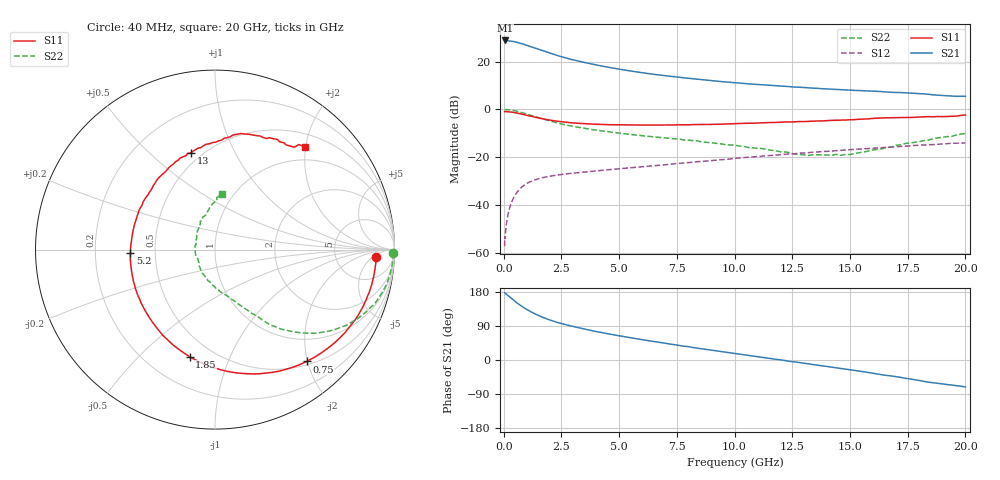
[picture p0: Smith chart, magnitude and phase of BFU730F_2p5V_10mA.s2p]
! Filename:  P:\Prog\Test\Noise\ATS_data\Testdata_Net\Split files Spar\BFU730_2W_B1_Bias6_2.5V_1mA_25mA_D.s2p
! Date/Time: Fri 29/Apr/2011 15:08:32
! BFU730_2W_B1_Bias6_2.5V_1mA_25mA_R.s2p
! MDIF S-parameter v. bias file
! BFU730_2W_B1_2.5V_1mA_25mA
! Date/time Thu Mar 17 13:38:09 2011
! VAR V_out= 2.5000
! VAR I_out= 9.9400
! VAR V_in= 0.7993
! VAR I_in= 0.0309
! Device data file deembeded for feedlines and parallel
! Original file: \Split files Spar\BFU730_2W_B1_Bias6_2.5V_1mA_25mA_R.s2p
! Feed-files: PR003V01_101208_Feed1.s2p, PR003V01_101208_Feed2.s2p
! Parallel-file: PR003V01_101208_Par.s2p
# MHz S MA R 50
!  Freq-MHz  S11-mag  S11-arg  S21-mag  S21-arg  S12-mag  S12-arg  S22-mag  S22-arg
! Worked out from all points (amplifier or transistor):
!   167 points, 40 MHz to 20 GHz, reference 50 ohm
!   highest |S21| = 28.9 dB at 50 MHz (marker M1)
!   |S21| within 3 dB of that: start of sweep to 1.294 GHz
!   unconditionally stable (mu >= 1): 5.627 GHz to 15.8 GHz
!   at 550 MHz: K = 0.13, MSG = 31.6 dB, |S12| = -35.1 dB
!   at 4.2 GHz: K = 0.84, MSG = 21.9 dB, |S12| = -25.6 dB
!   at 20 GHz: K = 0.83, MSG = 9.8 dB, |S12| = -14.1 dB
!   S11 on the Smith chart (normalised r, x): 40 MHz: 16, -7; 750 MHz: 0.56, -1.99; 1.85 GHz: 0.38, -0.72; 5.2 GHz: 0.36, -0.02; 13 GHz: 0.44, +0.68; 20 GHz: 0.73, +1.99
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40  0.899 -2.8  27.78 177.6  0.001361 75.0  0.9912 -1.2
50  0.9015 -3.7  27.84 176.7  0.002143 69.6  0.9914 -1.7
240  0.8884 -17.0  27.38 167.2  0.008044 79.9  0.9812 -9.3
420  0.8662 -29.5  26.5 158.1  0.01379 74.3  0.9524 -16.2
600  0.8343 -41.4  25.3 149.5  0.01896 68.2  0.9099 -22.5
750  0.8059 -50.6  24.05 143.1  0.02269 63.7  0.8689 -27.2
950  0.7654 -62.3  22.43 135.3  0.02695 58.4  0.8132 -32.6
1200  0.7146 -75.4  20.47 126.6  0.03125 53.0  0.7465 -38.3
1500  0.6624 -89.4  18.25 117.7  0.03513 47.9  0.6724 -43.7
1850  0.613 -103.3  15.99 108.9  0.03859 43.5  0.6006 -48.5
2100  0.5852 -111.9  14.57 103.5  0.04052 41.3  0.5566 -51.3
2450  0.5546 -122.8  12.91 97.1  0.04294 39.0  0.5023 -54.6
2800  0.5304 -132.2  11.6 91.5  0.04501 37.0  0.46 -56.7
3400  0.5041 -146.0  9.869 83.0  0.04816 35.1  0.4097 -60.0
4200  0.484 -161.6  8.186 72.9  0.0525 33.5  0.3563 -63.9
5200  0.4717 -177.7  6.715 61.7  0.05819 31.9  0.3098 -69.1
6800  0.47 161.6  5.216 46.1  0.06802 29.4  0.2577 -77.4
10200  0.5086 127.9  3.575 15.5  0.09584 20.9  0.1706 -105.4
13000  0.5549 103.9  2.873 -8.4  0.1219 9.3  0.1116 -147.4
13400  0.5659 101.4  2.792 -11.9  0.1268 7.3  0.1122 -157.8
16800  0.6691 74.0  2.28 -42.2  0.1624 -10.7  0.1629 119.8
20000  0.762 48.7  1.878 -71.3  0.1976 -31.6  0.3119 82.7
